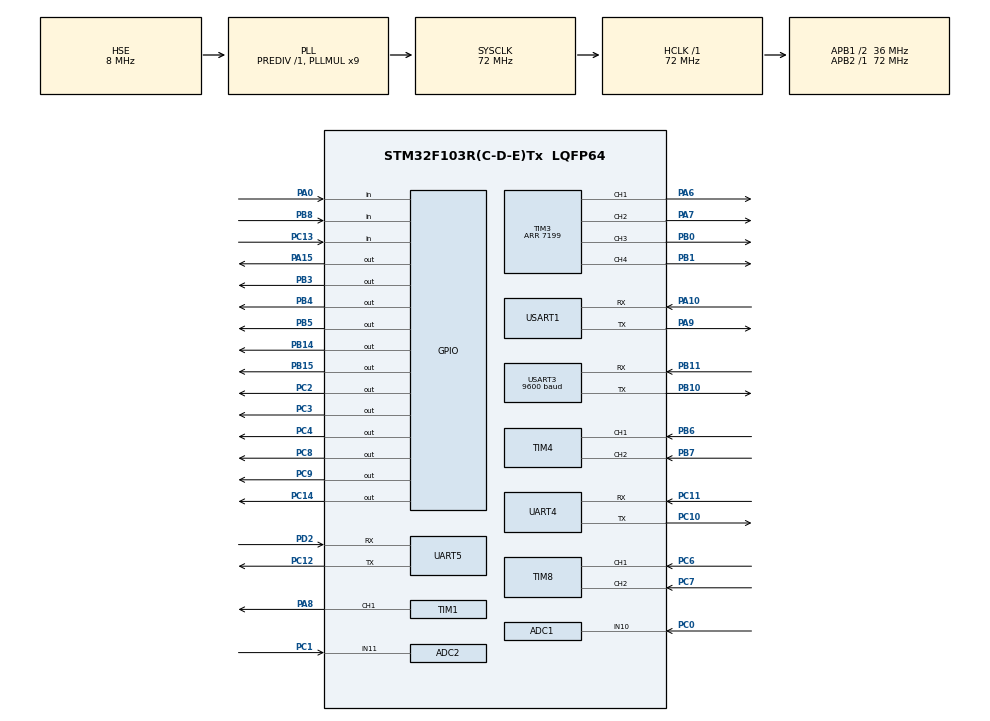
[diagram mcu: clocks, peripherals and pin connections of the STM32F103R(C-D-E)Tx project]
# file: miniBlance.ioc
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ADC1.Channel-3\#ChannelRegularConversion=ADC_CHANNEL_10
ADC1.NbrOfConversionFlag=1
ADC1.Rank-3\#ChannelRegularConversion=1
ADC1.SamplingTime-3\#ChannelRegularConversion=ADC_SAMPLETIME_1CYCLE_5
ADC1.master=1
ADC2.Channel-1\#ChannelRegularConversion=ADC_CHANNEL_11
ADC2.EnableInjectedConversion=DISABLE
ADC2.NbrOfConversionFlag=1
ADC2.Rank-1\#ChannelRegularConversion=1
ADC2.SamplingTime-1\#ChannelRegularConversion=ADC_SAMPLETIME_1CYCLE_5
Mcu.Family=STM32F1
Mcu.Name=STM32F103R(C-D-E)Tx
Mcu.Package=LQFP64
NVIC.PriorityGroup=NVIC_PRIORITYGROUP_2
NVIC.TIM4_IRQn=true\:1\:3\:true\:false\:true\:true\:true\:true
NVIC.TIM5_IRQn=true\:2\:2\:true\:false\:true\:true\:true\:true
NVIC.TIM8_UP_IRQn=true\:1\:3\:true\:false\:true\:true\:true\:true
NVIC.UART4_IRQn=true\:0\:0\:false\:false\:true\:true\:true\:true
NVIC.UART5_IRQn=true\:1\:1\:true\:false\:true\:true\:true\:true
NVIC.USART1_IRQn=true\:1\:1\:true\:false\:true\:true\:true\:true
NVIC.USART3_IRQn=true\:1\:1\:true\:false\:true\:true\:true\:true
PA0-WKUP.Signal=GPIO_Input
PA10.Mode=Asynchronous
PA10.Signal=USART1_RX
PA13.Mode=Serial_Wire
PA13.Signal=SYS_JTMS-SWDIO
PA14.Mode=Serial_Wire
PA14.Signal=SYS_JTCK-SWCLK
PA15.Signal=GPIO_Output
PA6.GPIO_Speed=GPIO_SPEED_FREQ_HIGH
PA6.Signal=S_TIM3_CH1
PA7.GPIO_Speed=GPIO_SPEED_FREQ_HIGH
PA7.Signal=S_TIM3_CH2
PA8.GPIO_Speed=GPIO_SPEED_FREQ_HIGH
PA8.Signal=S_TIM1_CH1
PA9.Mode=Asynchronous
PA9.Signal=USART1_TX
PB0.GPIO_Speed=GPIO_SPEED_FREQ_HIGH
PB0.Signal=S_TIM3_CH3
PB1.GPIO_Speed=GPIO_SPEED_FREQ_HIGH
PB1.Signal=S_TIM3_CH4
PB10.Mode=Asynchronous
PB10.Signal=USART3_TX
PB11.Mode=Asynchronous
PB11.Signal=USART3_RX
PB14.Signal=GPIO_Output
PB15.Signal=GPIO_Output
PB3.PinState=GPIO_PIN_SET
PB3.Signal=GPIO_Output
PB4.PinState=GPIO_PIN_SET
PB4.Signal=GPIO_Output
PB5.PinState=GPIO_PIN_SET
PB5.Signal=GPIO_Output
PB6.Signal=S_TIM4_CH1
PB7.Signal=S_TIM4_CH2
PB8.GPIO_PuPd=GPIO_PULLUP
PB8.Signal=GPIO_Input
PC0.Signal=ADCx_IN10
PC1.Signal=ADCx_IN11
PC10.Mode=Asynchronous
PC10.Signal=UART4_TX
PC11.Mode=Asynchronous
PC11.Signal=UART4_RX
PC12.Mode=Asynchronous
PC12.Signal=UART5_TX
PC13-TAMPER-RTC.GPIO_Mode=GPIO_MODE_INPUT
PC13-TAMPER-RTC.GPIO_PuPd=GPIO_NOPULL
PC13-TAMPER-RTC.Signal=GPIO_Input
PC14-OSC32_IN.PinState=GPIO_PIN_SET
PC14-OSC32_IN.Signal=GPIO_Output
PC2.Signal=GPIO_Output
PC3.Signal=GPIO_Output
PC4.PinState=GPIO_PIN_SET
PC4.Signal=GPIO_Output
PC6.Signal=S_TIM8_CH1
PC7.Signal=S_TIM8_CH2
PC8.PinState=GPIO_PIN_SET
PC8.Signal=GPIO_Output
PC9.PinState=GPIO_PIN_SET
PC9.Signal=GPIO_Output
PD0-OSC_IN.Mode=HSE-External-Oscillator
PD0-OSC_IN.Signal=RCC_OSC_IN
PD1-OSC_OUT.Mode=HSE-External-Oscillator
PD1-OSC_OUT.Signal=RCC_OSC_OUT
PD2.Mode=Asynchronous
PD2.Signal=UART5_RX
ProjectManager.HeapSize=0x200
ProjectManager.StackSize=0x400
ProjectManager.TargetToolchain=MDK-ARM V5.32
RCC.ADCPresc=RCC_ADCPCLK2_DIV8
RCC.AHBFreq_Value=72000000
RCC.APB1CLKDivider=RCC_HCLK_DIV2
RCC.APB1Freq_Value=36000000
RCC.APB1TimFreq_Value=72000000
RCC.APB2Freq_Value=72000000
RCC.APB2TimFreq_Value=72000000
RCC.HCLKFreq_Value=72000000
RCC.PLLMUL=RCC_PLL_MUL9
RCC.PLLSourceVirtual=RCC_PLLSOURCE_HSE
RCC.SYSCLKFreq_VALUE=72000000
RCC.SYSCLKSource=RCC_SYSCLKSOURCE_PLLCLK
RCC.USBFreq_Value=72000000
SH.ADCx_IN10.0=ADC1_IN10,IN10
SH.ADCx_IN11.0=ADC2_IN11,IN11
SH.S_TIM1_CH1.0=TIM1_CH1,PWM Generation1 CH1
SH.S_TIM3_CH1.0=TIM3_CH1,PWM Generation1 CH1
SH.S_TIM3_CH2.0=TIM3_CH2,PWM Generation2 CH2
SH.S_TIM3_CH3.0=TIM3_CH3,PWM Generation3 CH3
SH.S_TIM3_CH4.0=TIM3_CH4,PWM Generation4 CH4
SH.S_TIM4_CH1.0=TIM4_CH1,Encoder_Interface
SH.S_TIM4_CH2.0=TIM4_CH2,Encoder_Interface
SH.S_TIM8_CH1.0=TIM8_CH1,Encoder_Interface
SH.S_TIM8_CH2.0=TIM8_CH2,Encoder_Interface
TIM1.AutoReloadPreload=TIM_AUTORELOAD_PRELOAD_ENABLE
TIM1.Channel-PWM\ Generation1\ CH1=TIM_CHANNEL_1
TIM1.Period=9999
TIM1.Prescaler=71
TIM3.AutoReloadPreload=TIM_AUTORELOAD_PRELOAD_ENABLE
TIM3.Channel-PWM\ Generation1\ CH1=TIM_CHANNEL_1
TIM3.Channel-PWM\ Generation2\ CH2=TIM_CHANNEL_2
TIM3.Channel-PWM\ Generation3\ CH3=TIM_CHANNEL_3
TIM3.Channel-PWM\ Generation4\ CH4=TIM_CHANNEL_4
TIM3.Period=7199
TIM4.AutoReloadPreload=TIM_AUTORELOAD_PRELOAD_ENABLE
TIM4.EncoderMode=TIM_ENCODERMODE_TI12
TIM4.IC1Filter=10
TIM4.IC2Filter=10
TIM5.AutoReloadPreload=TIM_AUTORELOAD_PRELOAD_ENABLE
TIM5.Period=7199
TIM5.Prescaler=49
TIM8.AutoReloadPreload=TIM_AUTORELOAD_PRELOAD_ENABLE
TIM8.EncoderMode=TIM_ENCODERMODE_TI12
TIM8.IC1Filter=10
TIM8.IC2Filter=10
UART4.VirtualMode=Asynchronous
UART5.VirtualMode=Asynchronous
USART1.VirtualMode=VM_ASYNC
USART3.BaudRate=9600
USART3.VirtualMode=VM_ASYNC
VP_TIM5_VS_ClockSourceINT.Mode=Internal
board=custom

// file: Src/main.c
/* USER CODE BEGIN Header */
/**
  ******************************************************************************
  * @file           : main.c
  * @brief          : Main program body
  ******************************************************************************
  * @attention
  *
  * <h2><center>&copy; Copyright (c) 2022 STMicroelectronics.
  * All rights reserved.</center></h2>
  *
  * This software component is licensed by ST under BSD 3-Clause license,
  * the "License"; You may not use this file except in compliance with the
  * License. You may obtain a copy of the License at:
  *                        opensource.org/licenses/BSD-3-Clause
  *
  ******************************************************************************
  */
/* USER CODE END Header */
#include "main.h"
#include "adc.h"
#include "tim.h"
#include "usart.h"
#include "gpio.h"

/* USER CODE BEGIN Includes */
#include "Header.h"
/* USER CODE END Includes */

/* USER CODE BEGIN PM */
volatile u8 delay_50,delay_flag; 		//延时变量
u16 Voltage;							//电压变量，放大100倍储存
u8 Flag_Stop;							//电机启停标志位
u8 PS2_ON_Flag = 0,APP_ON_Flag = 0,ROS_ON_Flag = 0,Remote_ON_Flag;		//默认所有方式不控制
u8 Car_Num;								//车型号码选择
u8 Flag_Show = 1;						//显示标志位，默认开启，长按切换到上位机模式，此时关闭
float Perimeter; 						//轮子的周长
float Wheelspacing; 					//轮子的轮距
u8 one_lap_data_success_flag=0,Lidar_Success_Receive_flag;         //雷达数据完成一圈的接收标志位
int lap_count=0;//当前雷达这一圈数据有多少个点
int PointDataProcess_count=0,test_once_flag=0,Dividing_point=0;//雷达接收数据点的计算值、接收到一圈数据最后一帧数据的标志位、需要切割数据的数据数
/* USER CODE END PM */

void SystemClock_Config(void);

int main(void)
{

  /* USER CODE BEGIN 1 */
  u32 Voltage_Sum = 0;
	u8 Voltage_Count = 0;
	u16 Ultrasonic_Distance = 0;
	/* USER CODE END 1 */

  /* MCU Configuration--------------------------------------------------------*/

  /* Reset of all peripherals, Initializes the Flash interface and the Systick. */
  HAL_Init();

  /* Configure the system clock */
  SystemClock_Config();

  /* Initialize all configured peripherals */
  MX_GPIO_Init();
  MX_ADC1_Init();
  MX_ADC2_Init();
  MX_TIM3_Init();
  MX_TIM4_Init();
  MX_TIM8_Init();
  MX_UART5_Init();
  MX_USART1_UART_Init();
  MX_USART3_UART_Init();
  MX_UART4_Init();
  /* USER CODE BEGIN 2 */
  printf("[UART] USART1 ready: 9600 8N1, HCLK=%lu, PCLK1=%lu, PCLK2=%lu, BRR=0x%04lX\r\n",
         HAL_RCC_GetHCLKFreq(),
         HAL_RCC_GetPCLK1Freq(),
         HAL_RCC_GetPCLK2Freq(),
         (unsigned long)USART1->BRR);
#if !USART1_TEXT_DEBUG_ONLY || FINAL_EXHIBITION_AUTO_SCAN
	OLED_Init();
#endif
//Distance_Cap_Init(65535,72-1);//用于测量超声波的距离，默认注释，具体看capture.h
  PWM_Cap_Init(65535,72-1);  //航模初始化
  HC_SR04_Init();            //超声波初始化
#if USART1_TEXT_DEBUG_ONLY && HC_SR04_STREAMING_DEBUG
  printf("[HC_SR04] streaming start\r\n");
  while (1)
  {
    Ultrasonic_Distance = HC_SR04_ReadMedian();
    printf("distance = %u\r\n", (unsigned int)Ultrasonic_Distance);
    delay_ms(200);
  }
#endif
  MPU6050_Init();           //MPU6050初始化
    PS2_SetInit();                //手柄配置初始化
    Robot_Select();
	BEEP_ON();													//按键按下蜂鸣器提示
	delay_ms(300);
	BEEP_OFF();
	if(Car_Num == Akm_Car)
		  MX_TIM1_Init();									//阿克曼车型初始化舵机
	Car_Perimeter_Init();										//初始化轮子周长和轮距
	// Auto_Demo relies on Turn_Off() in the TIM5 interrupt. Initialize Voltage before TIM5 starts,
	// otherwise the default value 0 is treated as low battery and the auto task is stopped immediately.
	Voltage_Sum = 0;
	for(Voltage_Count = 0; Voltage_Count < 5; Voltage_Count++)
	{
		Voltage_Sum += Get_Voltage();
		delay_ms(2);
	}
	Voltage = Voltage_Sum / 5;
	Voltage_Sum = 0;
	Voltage_Count = 0;
    MX_TIM5_Init();							//5ms中断控制，大部分控制逻辑在里面
#if FINAL_EXHIBITION_AUTO_SCAN
    Auto_Demo_Start();
    printf("[AUTO] start: car=%u voltage=%u\r\n", (unsigned int)Car_Num, (unsigned int)Voltage);
#endif
  /* USER CODE END 2 */

  /* Infinite loop */
  while (1)
  {
    /* USER CODE BEGIN 3 */
	    Robot_Select();
#if FINAL_EXHIBITION_AUTO_SCAN
		Auto_Demo_Service_Main();
#endif
		if(Flag_Show)											//正常显示，非上位机模式
		{
			LED2_OFF;
			PS2_Read();											//手柄数据读取

			Show();												//显示屏
#if !USART1_TEXT_DEBUG_ONLY
			APP_Show();											//手机蓝牙显示
#endif

			Voltage_Sum += Get_Voltage();						//电压测量，每5次取一次平均
			if((++Voltage_Count) == 5)
				Voltage = Voltage_Sum/5,Voltage_Count = 0,Voltage_Sum = 0;
		}
		else													//进入上位机模式
		{
			LED2_ON;											//LED2常亮指示进入了上位机模式
#if !USART1_TEXT_DEBUG_ONLY
			DataScope();										//上位机示波器显示
#endif
		}
		delay_flag=1;
		delay_50=0;
		while(delay_flag);	     								//通过定时中断实现的50ms延时，主要用于示波
  }
  /* USER CODE END 3 */
}

void SystemClock_Config(void)
{
  RCC_OscInitTypeDef RCC_OscInitStruct = {0};
  RCC_ClkInitTypeDef RCC_ClkInitStruct = {0};
  RCC_PeriphCLKInitTypeDef PeriphClkInit = {0};

  /** Initializes the RCC Oscillators according to the specified parameters
  * in the RCC_OscInitTypeDef structure.
  */
  RCC_OscInitStruct.OscillatorType = RCC_OSCILLATORTYPE_HSE;
  RCC_OscInitStruct.HSEState = RCC_HSE_ON;
  RCC_OscInitStruct.HSEPredivValue = RCC_HSE_PREDIV_DIV1;
  RCC_OscInitStruct.HSIState = RCC_HSI_ON;
  RCC_OscInitStruct.PLL.PLLState = RCC_PLL_ON;
  RCC_OscInitStruct.PLL.PLLSource = RCC_PLLSOURCE_HSE;
  RCC_OscInitStruct.PLL.PLLMUL = RCC_PLL_MUL9;
  if (HAL_RCC_OscConfig(&RCC_OscInitStruct) != HAL_OK)
  {
    Error_Handler();
  }

  /** Initializes the CPU, AHB and APB buses clocks
  */
  RCC_ClkInitStruct.ClockType = RCC_CLOCKTYPE_HCLK|RCC_CLOCKTYPE_SYSCLK
                              |RCC_CLOCKTYPE_PCLK1|RCC_CLOCKTYPE_PCLK2;
  RCC_ClkInitStruct.SYSCLKSource = RCC_SYSCLKSOURCE_PLLCLK;
  RCC_ClkInitStruct.AHBCLKDivider = RCC_SYSCLK_DIV1;
  RCC_ClkInitStruct.APB1CLKDivider = RCC_HCLK_DIV2;
  RCC_ClkInitStruct.APB2CLKDivider = RCC_HCLK_DIV1;

  if (HAL_RCC_ClockConfig(&RCC_ClkInitStruct, FLASH_LATENCY_2) != HAL_OK)
  {
    Error_Handler();
  }
  PeriphClkInit.PeriphClockSelection = RCC_PERIPHCLK_ADC;
  PeriphClkInit.AdcClockSelection = RCC_ADCPCLK2_DIV8;
  if (HAL_RCCEx_PeriphCLKConfig(&PeriphClkInit) != HAL_OK)
  {
    Error_Handler();
  }
}

void Error_Handler(void)
{
  __disable_irq();
  while (1)
  {
  }
}
